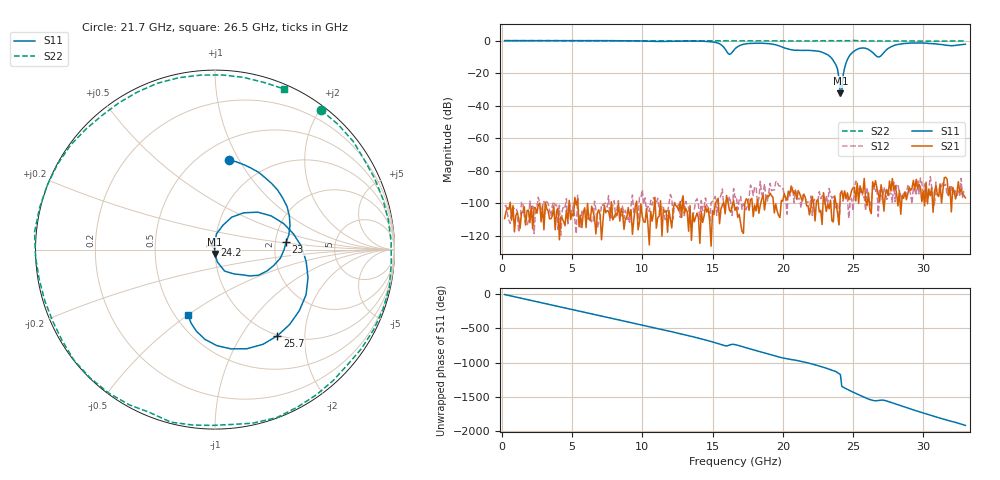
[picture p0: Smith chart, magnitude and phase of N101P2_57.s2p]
# GHZ S RI R 50
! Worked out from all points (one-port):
!   329 points, 200 MHz to 33 GHz, reference 50 ohm
!   lowest |S11| = -32.4 dB at 24.1 GHz (marker M1), VSWR 1.05, Z = 49.9 - j2.39 ohm
!   |S11| at or under -10 dB: 23.39 GHz to 24.7 GHz (1.312 GHz wide, 5.46 % of centre); 26.78442 GHz to 26.83094 GHz (46.52 MHz wide, 0.174 % of centre)
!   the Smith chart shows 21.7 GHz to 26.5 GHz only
!   S11 on the Smith chart (normalised r, x): 21.7 GHz: 0.67, +0.91; 23 GHz: 2.30, +0.22; 24.2 GHz: 0.99, +0.05; 25.7 GHz: 0.99, -1.46; 26.5 GHz: 0.58, -0.50
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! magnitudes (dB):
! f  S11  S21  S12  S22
! 200 MHz  0.0  -109.3  -101.8  0.0
! 5.7 GHz  0.0  -114.9  -104.7  0.0
! 11.2 GHz  -0.5  -107.9  -103.6  -0.2
! 15.2 GHz  -1.1  -100.0  -95.8  -0.1
! 16.2 GHz  -8.5  -104.1  -95.8  -0.1
! 16.6 GHz  -5.1  -104.3  -96.4  -0.1
! 18.5 GHz  -1.6  -97.5  -94.7  -0.1
! 21.7 GHz  -5.9  -101.5  -99.2  -0.2
! 22.1 GHz  -6.1  -95.6  -107.4  -0.2
! 23 GHz  -8.0  -99.4  -101.1  -0.2
! 23.8 GHz  -15.2  -100.7  -102.0  -0.1
! 24 GHz  -23.0  -113.1  -113.6  -0.2
! 24.1 GHz  -32.4  -94.0  -98.9  -0.1
! 24.2 GHz  -31.2  -92.3  -98.0  0.0
! 24.3 GHz  -21.1  -97.5  -98.7  0.0
! 24.6 GHz  -11.7  -93.6  -96.5  -0.1
! 25.7 GHz  -4.5  -93.8  -96.5  -0.2
! 26.5 GHz  -8.1  -90.1  -90.7  -0.2
! 26.9 GHz  -9.9  -98.9  -91.8  -0.2
! 27.6 GHz  -4.3  -86.4  -93.9  -0.3
! 29 GHz  -1.5  -90.0  -91.7  -0.2
! 33 GHz  -2.2  -96.6  -91.5  -0.3
